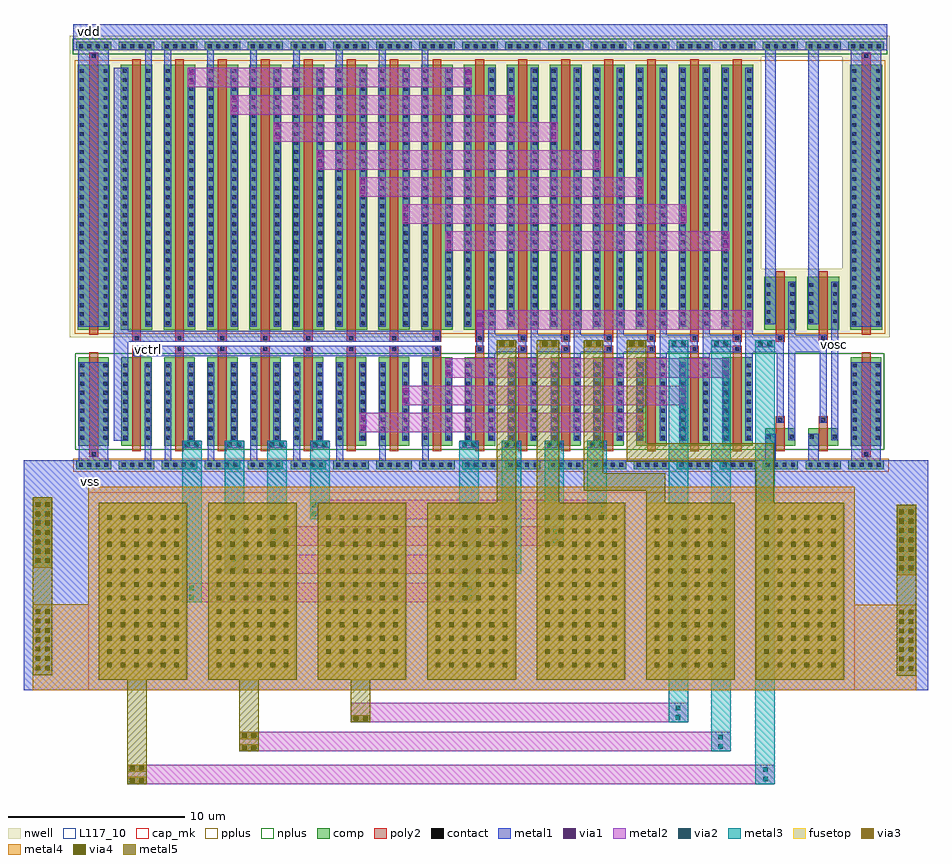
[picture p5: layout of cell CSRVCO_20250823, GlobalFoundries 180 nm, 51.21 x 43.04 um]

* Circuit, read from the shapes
.subckt CSRVCO_20250823 vctrl vdd vosc vss
XM1 vss vss vss vss nfet_03v3 w=5u l=0.5u m=2
XM2 vss vctrl n1 vss nfet_03v3 w=5u l=0.5u
XM3 n2 vctrl vss vss nfet_03v3 w=5u l=0.5u
XM4 n3 vctrl vss vss nfet_03v3 w=5u l=0.5u
XM5 n4 vctrl vss vss nfet_03v3 w=5u l=0.5u
XM6 n5 vctrl vss vss nfet_03v3 w=5u l=0.5u
XM7 n6 vctrl vss vss nfet_03v3 w=5u l=0.5u
XM8 n7 vctrl vss vss nfet_03v3 w=5u l=0.5u
XM9 n8 vctrl vss vss nfet_03v3 w=5u l=0.5u
XM10 n9 n10 n2 vss nfet_03v3 w=5u l=0.5u
XM11 n11 n9 n3 vss nfet_03v3 w=5u l=0.5u
XM12 n12 n11 n4 vss nfet_03v3 w=5u l=0.5u
XM13 n13 n12 n5 vss nfet_03v3 w=5u l=0.5u
XM14 n14 n13 n6 vss nfet_03v3 w=5u l=0.5u
XM15 n15 n14 n7 vss nfet_03v3 w=5u l=0.5u
XM16 n10 n15 n8 vss nfet_03v3 w=5u l=0.5u
XM17 n16 n10 vss vss nfet_03v3 w=1u l=0.5u
XM18 vosc n16 vss vss nfet_03v3 w=1u l=0.5u
XM19 vdd vdd vdd vdd pfet_03v3 w=15u l=0.5u m=2
XM20 vdd n1 n1 vdd pfet_03v3 w=15u l=0.5u
XM21 n17 n1 vdd vdd pfet_03v3 w=15u l=0.5u
XM22 n18 n1 vdd vdd pfet_03v3 w=15u l=0.5u
XM23 n19 n1 vdd vdd pfet_03v3 w=15u l=0.5u
XM24 n20 n1 vdd vdd pfet_03v3 w=15u l=0.5u
XM25 n21 n1 vdd vdd pfet_03v3 w=15u l=0.5u
XM26 n22 n1 vdd vdd pfet_03v3 w=15u l=0.5u
XM27 n23 n1 vdd vdd pfet_03v3 w=15u l=0.5u
XM28 n9 n10 n17 vdd pfet_03v3 w=15u l=0.5u
XM29 n11 n9 n18 vdd pfet_03v3 w=15u l=0.5u
XM30 n12 n11 n19 vdd pfet_03v3 w=15u l=0.5u
XM31 n13 n12 n20 vdd pfet_03v3 w=15u l=0.5u
XM32 n14 n13 n21 vdd pfet_03v3 w=15u l=0.5u
XM33 n15 n14 n22 vdd pfet_03v3 w=15u l=0.5u
XM34 n10 n15 n23 vdd pfet_03v3 w=15u l=0.5u
XM35 n16 n10 vdd vdd pfet_03v3 w=3u l=0.5u
XM36 vosc n16 vdd vdd pfet_03v3 w=3u l=0.5u
XC37 n10 vss cap_mim_2f0fF c_width=5u c_length=10u
XC38 n15 vss cap_mim_2f0fF c_width=5u c_length=10u
XC39 n14 vss cap_mim_2f0fF c_width=5u c_length=10u
XC40 n9 vss cap_mim_2f0fF c_width=5u c_length=10u
XC41 n11 vss cap_mim_2f0fF c_width=5u c_length=10u
XC42 n12 vss cap_mim_2f0fF c_width=5u c_length=10u
XC43 n13 vss cap_mim_2f0fF c_width=5u c_length=10u
.ends

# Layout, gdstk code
from math import pi, radians
import gdstk
lib = gdstk.Library(unit=1e-6, precision=1e-09)
def R(c, l, rs):  # rectangles x0, y0, x1, y1
    for r in rs: c.add(gdstk.rectangle(r[:2], r[2:], *l))
def A(c, l, x, y, w, h, nx, ny, dx, dy):  # array of equal rectangles
    R(c, l, [(x+i*dx, y+j*dy, x+i*dx+w, y+j*dy+h) for i in range(nx) for j in range(ny)])
nwell = (21, 0)
comp = (22, 0)
poly2 = (30, 0)
pplus = (31, 0)
nplus = (32, 0)
contact = (33, 0)
metal1 = (34, 0)
via1 = (35, 0)
metal2 = (36, 0)
via2 = (38, 0)
via3 = (40, 0)
via4 = (41, 0)
metal3 = (42, 0)
metal4 = (46, 0)
fusetop = (75, 0)
metal5 = (81, 0)
cap_mk = (117, 5)
L117_10 = (117, 10)

via_dev_744 = lib.new_cell('via_dev$744')
R(via_dev_744, comp, [(0,0,2,0.5)])
A(via_dev_744, contact, 0.17, 0.14, 0.22, 0.22, 4, 1, 0.48, 0)
R(via_dev_744, metal1, [(0,0,2,0.5)])

nfet_218 = lib.new_cell('nfet$218')
R(nfet_218, comp, [(-0.42,0,0,5), (0,0,0.88,5), (0.88,0,1.3,5)])
R(nfet_218, poly2, [(0.19,-0.3,0.69,5.3), (0.19,5.3,0.69,5.66)])
R(nfet_218, nplus, [(-0.59,-0.24,1.47,5.24)])
A(nfet_218, contact, -0.32, 0.35, 0.22, 0.22, 1, 9, 0, 0.51)
A(nfet_218, contact, 0.98, 0.35, 0.22, 0.22, 1, 9, 0, 0.51)
R(nfet_218, contact, [(0.33,5.37,0.55,5.59)])
R(nfet_218, metal1, [(-0.4,0.27,-0.02,4.73), (0.9,0.27,1.28,4.73), (0.25,5.29,0.63,5.67)])

pfet_207 = lib.new_cell('pfet$207')
R(pfet_207, nwell, [(-0.9,-0.44,1.78,15.44)])
R(pfet_207, comp, [(-0.46,0,0,15), (0,0,0.88,15), (0.88,0,1.34,15)])
R(pfet_207, poly2, [(0.19,-0.68,0.69,-0.3), (0.19,-0.3,0.69,15.3)])
R(pfet_207, pplus, [(-0.63,-0.24,1.51,15.24)])
A(pfet_207, contact, -0.34, 0.25, 0.22, 0.22, 1, 29, 0, 0.51)
A(pfet_207, contact, 1, 0.25, 0.22, 0.22, 1, 29, 0, 0.51)
R(pfet_207, contact, [(0.33,-0.6,0.55,-0.38)])
R(pfet_207, metal1, [(0.25,-0.68,0.63,-0.3), (-0.42,0.17,-0.04,14.83), (0.92,0.17,1.3,14.83)])

nfet_219 = lib.new_cell('nfet$219')
R(nfet_219, comp, [(-0.42,0,0,5), (0,0,0.88,5), (0.88,0,1.3,5)])
R(nfet_219, poly2, [(0.19,-0.66,0.69,-0.3), (0.19,-0.3,0.69,5.3)])
R(nfet_219, nplus, [(-0.59,-0.24,1.47,5.24)])
A(nfet_219, contact, -0.32, 0.35, 0.22, 0.22, 1, 9, 0, 0.51)
A(nfet_219, contact, 0.98, 0.35, 0.22, 0.22, 1, 9, 0, 0.51)
R(nfet_219, contact, [(0.33,-0.59,0.55,-0.37)])
R(nfet_219, metal1, [(0.25,-0.67,0.63,-0.29), (-0.4,0.27,-0.02,4.73), (0.9,0.27,1.28,4.73)])

via_dev_745 = lib.new_cell('via_dev$745')
R(via_dev_745, metal1, [(0,0,1.1,0.4)])
R(via_dev_745, via1, [(0.155,0.07,0.415,0.33), (0.685,0.07,0.945,0.33)])
R(via_dev_745, metal2, [(0,0,1.1,0.4)])

via_dev_746 = lib.new_cell('via_dev$746')
R(via_dev_746, metal1, [(0,0,1.1,0.4)])
R(via_dev_746, via1, [(0.155,0.07,0.415,0.33), (0.685,0.07,0.945,0.33)])
R(via_dev_746, metal2, [(0,0,1.1,0.4)])
R(via_dev_746, via2, [(0.155,0.07,0.415,0.33), (0.685,0.07,0.945,0.33)])
R(via_dev_746, metal3, [(0,0,1.1,0.4)])

cap_mim = lib.new_cell('cap_mim')
A(cap_mim, via4, 0.69, 0.47, 0.26, 0.26, 12, 6, 0.76, 0.76)
R(cap_mim, metal4, [(-0.6,-0.6,10.6,5.6)])
R(cap_mim, fusetop, [(0,0,10,5)])
R(cap_mim, metal5, [(0,0,10,5)])
R(cap_mim, cap_mk, [(-0.6,-0.6,10.6,5.6)])
R(cap_mim, L117_10, [(0,0,10,0.1)])

pfet_208 = lib.new_cell('pfet$208')
R(pfet_208, nwell, [(-0.9,-0.44,1.78,15.44)])
R(pfet_208, comp, [(-0.46,0,0,15), (0,0,0.88,15), (0.88,0,1.34,15)])
R(pfet_208, poly2, [(0.19,-0.3,0.69,15.3), (0.19,15.3,0.69,15.68)])
R(pfet_208, pplus, [(-0.63,-0.24,1.51,15.24)])
A(pfet_208, contact, -0.34, 0.25, 0.22, 0.22, 1, 29, 0, 0.51)
A(pfet_208, contact, 1, 0.25, 0.22, 0.22, 1, 29, 0, 0.51)
R(pfet_208, contact, [(0.33,15.38,0.55,15.6)])
R(pfet_208, metal1, [(-0.42,0.17,-0.04,14.83), (0.92,0.17,1.3,14.83), (0.25,15.3,0.63,15.68)])

via_dev_747 = lib.new_cell('via_dev$747')
R(via_dev_747, metal1, [(0,0,1.1,0.4)])
R(via_dev_747, via1, [(0.155,0.07,0.415,0.33), (0.685,0.07,0.945,0.33)])
R(via_dev_747, metal2, [(0,0,1.1,0.4)])
R(via_dev_747, via2, [(0.155,0.07,0.415,0.33), (0.685,0.07,0.945,0.33)])
R(via_dev_747, via3, [(0.155,0.07,0.415,0.33), (0.685,0.07,0.945,0.33)])
R(via_dev_747, via4, [(0.155,0.07,0.415,0.33), (0.685,0.07,0.945,0.33)])
R(via_dev_747, metal3, [(0,0,1.1,0.4)])
R(via_dev_747, metal4, [(0,0,1.1,0.4)])
R(via_dev_747, metal5, [(0,0,1.1,0.4)])

pfet_209 = lib.new_cell('pfet$209')
R(pfet_209, nwell, [(-0.9,-0.44,1.78,3.44)])
R(pfet_209, comp, [(-0.46,0,0,3), (0,0,0.88,3), (0.88,0,1.34,3)])
R(pfet_209, poly2, [(0.19,-0.68,0.69,-0.3), (0.19,-0.3,0.69,3.3)])
R(pfet_209, pplus, [(-0.63,-0.24,1.51,3.24)])
A(pfet_209, contact, -0.34, 0.37, 0.22, 0.22, 1, 5, 0, 0.51)
A(pfet_209, contact, 1, 0.37, 0.22, 0.22, 1, 5, 0, 0.51)
R(pfet_209, contact, [(0.33,-0.6,0.55,-0.38)])
R(pfet_209, metal1, [(0.25,-0.68,0.63,-0.3), (-0.42,0.29,-0.04,2.71), (0.92,0.29,1.3,2.71)])

via_dev_748 = lib.new_cell('via_dev$748')

via_dev_749 = lib.new_cell('via_dev$749')
R(via_dev_749, metal2, [(0,0,1.1,0.4)])
R(via_dev_749, via2, [(0.155,0.07,0.415,0.33), (0.685,0.07,0.945,0.33)])
R(via_dev_749, metal3, [(0,0,1.1,0.4)])

via_dev_750 = lib.new_cell('via_dev$750')
R(via_dev_750, metal2, [(0,0,1.1,0.4)])
R(via_dev_750, via2, [(0.155,0.07,0.415,0.33), (0.685,0.07,0.945,0.33)])
R(via_dev_750, via3, [(0.155,0.07,0.415,0.33), (0.685,0.07,0.945,0.33)])
R(via_dev_750, via4, [(0.155,0.07,0.415,0.33), (0.685,0.07,0.945,0.33)])
R(via_dev_750, metal3, [(0,0,1.1,0.4)])
R(via_dev_750, metal4, [(0,0,1.1,0.4)])
R(via_dev_750, metal5, [(0,0,1.1,0.4)])

via_dev_751 = lib.new_cell('via_dev$751')
A(via_dev_751, via4, 0.28, 0.155, 0.26, 0.26, 7, 2, 0.53, 0.53)
R(via_dev_751, metal4, [(0,0,4,1.1)])
R(via_dev_751, metal5, [(0,0,4,1.1)])

via_dev_752 = lib.new_cell('via_dev$752')
R(via_dev_752, metal1, [(0,0,4,1.1)])
A(via_dev_752, via1, 0.28, 0.155, 0.26, 0.26, 7, 2, 0.53, 0.53)
R(via_dev_752, metal2, [(0,0,4,1.1)])
A(via_dev_752, via2, 0.28, 0.155, 0.26, 0.26, 7, 2, 0.53, 0.53)
A(via_dev_752, via3, 0.28, 0.155, 0.26, 0.26, 7, 2, 0.53, 0.53)
A(via_dev_752, via4, 0.28, 0.155, 0.26, 0.26, 7, 2, 0.53, 0.53)
R(via_dev_752, metal3, [(0,0,4,1.1)])
R(via_dev_752, metal4, [(0,0,4,1.1)])
R(via_dev_752, metal5, [(0,0,4,1.1)])

nfet_220 = lib.new_cell('nfet$220')
R(nfet_220, comp, [(-0.42,0,0,1), (0,0,0.88,1), (0.88,0,1.3,1)])
R(nfet_220, poly2, [(0.19,-0.3,0.69,1.3), (0.19,1.3,0.69,1.66)])
R(nfet_220, nplus, [(-0.59,-0.24,1.47,1.24)])
R(nfet_220, contact, [(-0.32,0.39,-0.1,0.61), (0.98,0.39,1.2,0.61), (0.33,1.37,0.55,1.59)])
R(nfet_220, metal1, [(-0.4,0.31,-0.02,0.69), (0.9,0.31,1.28,0.69), (0.25,1.29,0.63,1.67)])

csrvco_20250823 = lib.new_cell('CSRVCO_20250823')
A(csrvco_20250823, nwell, -82.58, 23.08, 2.68, 1.185, 19, 1, 2.43, 0)
A(csrvco_20250823, pplus, -82.39, -0.415, 2.435, 0.75, 19, 1, 2.43, 0)
A(csrvco_20250823, pplus, -80.17, 7.4, 0.29, 15.48, 18, 1, 2.43, 0)
R(csrvco_20250823, pplus, [(-43.43,10.88,-41.29,22.88), (-41,10.88,-38.86,22.88)])
A(csrvco_20250823, nplus, -80.21, 0.82, 0.37, 5.48, 18, 1, 2.43, 0)
A(csrvco_20250823, nplus, -82.425, 23.24, 2.385, 0.865, 19, 1, 2.43, 0)
A(csrvco_20250823, nplus, -80.04, 23.24, 0.045, 0.865, 18, 1, 2.43, 0)
R(csrvco_20250823, nplus, [(-43.39,2.3,-41.33,6.3), (-40.96,2.3,-38.9,6.3)])
A(csrvco_20250823, metal1, -82.39, -1.275, 2.43, 1.5, 19, 1, 2.43, 0)
A(csrvco_20250823, metal1, -82.39, -0.275, 0.15, 0.5, 19, 2, 2.43, 23.715)
A(csrvco_20250823, metal1, -77.22, -0.275, 0.38, 1.99, 7, 1, 2.43, 0)
A(csrvco_20250823, metal1, -58.91, 1.33, 0.4, 21.14, 7, 1, 2.43, 0)
A(csrvco_20250823, metal1, -59.56, 6.35, 0.38, 0.99, 7, 1, 2.43, 0)
A(csrvco_20250823, metal1, -58.91, 6.35, 2.16, 0.99, 8, 1, 2.43, 0)
A(csrvco_20250823, metal1, -77.24, 19.93, 0.38, 4.01, 7, 1, 2.43, 0)
A(csrvco_20250823, metal1, -82.39, 23.44, 2.35, 1.5, 19, 1, 2.43, 0)
A(csrvco_20250823, metal1, -80.04, 23.44, 0.08, 1.5, 18, 1, 2.43, 0)
R(csrvco_20250823, metal1, [(-85.195,-12.78,-33.985,0.225), (-82.08,-0.275,-80.4,5.79), (-78.35,-0.275,-77.97,1.715), (-43.2,-0.275,-42.61,1.75), (-40.77,-0.275,-40.185,1.75), (-38.34,-0.275,-36.66,5.79), (-80.095,1.33,-79.27,22.47), (-41.9,1.37,-41.5,10.35), (-39.47,1.37,-39.07,10.35), (-42.55,2.35,-42.17,7.34), (-40.12,2.35,-39.74,7.34), (-79,6.115,-61.61,6.73), (-59.58,6.35,-59.18,7.64), (-80.095,6.96,-61.61,7.575), (-82.1,7.81,-80.38,23.94), (-38.36,7.81,-36.64,23.94), (-43.22,7.93,-42.61,23.94), (-40.79,7.93,-40.18,23.94), (-78.33,19.935,-77.95,23.945)])
R(csrvco_20250823, metal2, [(-79.34,-18.095,-42.67,-16.995), (-72.99,-16.245,-45.165,-15.145), (-66.67,-14.6,-47.565,-13.5), (-76.225,-7.805,-59.435,-6.705), (-73.825,-6.2,-57.03,-5.1), (-71.415,-4.61,-54.615,-3.51), (-68.97,-3.095,-52.19,-1.995), (-66.2,1.835,-50.11,2.94), (-63.77,3.365,-47.68,4.47), (-61.34,4.92,-45.25,6.025), (-59.58,7.64,-43.93,8.74), (-61.32,12.105,-45.25,13.21), (-63.75,13.64,-47.68,14.745), (-66.18,15.17,-50.11,16.275), (-68.61,16.695,-52.54,17.8), (-71.04,18.28,-54.97,19.385), (-73.465,19.81,-57.395,20.915), (-75.9,21.37,-59.83,22.475)])
R(csrvco_20250823, metal3, [(-43.77,-18.095,-42.67,6.635), (-46.265,-16.245,-45.165,6.635), (-48.665,-14.6,-47.565,7.035), (-76.225,-7.805,-75.125,0.93), (-60.535,-7.805,-59.435,0.93), (-73.825,-6.2,-72.725,1.33), (-58.13,-6.2,-57.03,0.93), (-71.415,-4.61,-70.315,1.33), (-55.71,-4.61,-54.615,1.33), (-68.97,-3.095,-67.87,1.33), (-53.29,-3.095,-52.19,1.33)])
R(csrvco_20250823, metal4, [(-84.675,-12.78,-81.54,-7.925), (-81.54,-12.78,-38.14,-1.275), (-38.14,-12.78,-34.67,-7.955)])
R(csrvco_20250823, metal5, [(-79.34,-18.095,-78.24,-12.18), (-72.99,-16.245,-71.89,-12.18), (-66.67,-14.6,-65.57,-12.18), (-58.405,-12.18,-57.305,7.035), (-35.77,-7.955,-34.67,-6.275), (-84.675,-7.925,-83.575,-5.855), (-56.14,-2.18,-54.88,7.035), (-49.94,-2.18,-48.885,-1.5), (-43.74,-2.18,-42.73,0.145), (-53.475,-1.5,-52.375,6.635), (-53.475,-1.5,-48.885,-0.495), (-51.055,0.145,-49.955,6.635), (-51.055,0.145,-42.73,1.205)])
csrvco_20250823.add(gdstk.Reference(via_dev_744, (-60.37,23.44)))
csrvco_20250823.add(gdstk.Reference(via_dev_744, (-60.37,-0.275)))
csrvco_20250823.add(gdstk.Reference(nfet_218, (-52.52,1.06)))
csrvco_20250823.add(gdstk.Reference(nfet_218, (-54.95,1.06)))
csrvco_20250823.add(gdstk.Reference(nfet_218, (-57.38,1.06)))
csrvco_20250823.add(gdstk.Reference(pfet_207, (-59.81,7.64)))
csrvco_20250823.add(gdstk.Reference(nfet_218, (-59.81,1.06)))
csrvco_20250823.add(gdstk.Reference(nfet_218, (-45.23,1.06)))
csrvco_20250823.add(gdstk.Reference(nfet_218, (-50.09,1.06)))
csrvco_20250823.add(gdstk.Reference(nfet_219, (-37.94,1.06)))
csrvco_20250823.add(gdstk.Reference(nfet_218, (-74.39,1.06)))
csrvco_20250823.add(gdstk.Reference(nfet_218, (-76.82,1.06)))
csrvco_20250823.add(gdstk.Reference(nfet_218, (-79.25,1.06)))
csrvco_20250823.add(gdstk.Reference(nfet_219, (-81.68,1.06)))
csrvco_20250823.add(gdstk.Reference(nfet_218, (-64.67,1.06)))
csrvco_20250823.add(gdstk.Reference(nfet_218, (-67.1,1.06)))
csrvco_20250823.add(gdstk.Reference(nfet_218, (-69.53,1.06)))
csrvco_20250823.add(gdstk.Reference(nfet_218, (-71.96,1.06)))
csrvco_20250823.add(gdstk.Reference(nfet_218, (-62.24,1.06)))
csrvco_20250823.add(gdstk.Reference(nfet_218, (-47.66,1.06)))
csrvco_20250823.add(gdstk.Reference(via_dev_745, (-50.11,1.835), rotation=pi/2))
csrvco_20250823.add(gdstk.Reference(via_dev_745, (-65.8,1.84), rotation=pi/2))
csrvco_20250823.add(gdstk.Reference(via_dev_746, (-60.535,0.93)))
csrvco_20250823.add(gdstk.Reference(cap_mim, (-57.34,-12.18), rotation=pi/2))
csrvco_20250823.add(gdstk.Reference(via_dev_746, (-46.265,6.635)))
csrvco_20250823.add(gdstk.Reference(pfet_207, (-52.52,7.64)))
csrvco_20250823.add(gdstk.Reference(pfet_208, (-37.94,7.64)))
csrvco_20250823.add(gdstk.Reference(via_dev_744, (-55.51,23.44)))
csrvco_20250823.add(gdstk.Reference(via_dev_744, (-38.5,23.44)))
csrvco_20250823.add(gdstk.Reference(via_dev_747, (-53.475,6.635)))
csrvco_20250823.add(gdstk.Reference(pfet_207, (-57.38,7.64)))
csrvco_20250823.add(gdstk.Reference(via_dev_747, (-57.305,7.035), rotation=pi))
csrvco_20250823.add(gdstk.Reference(pfet_207, (-45.23,7.64)))
csrvco_20250823.add(gdstk.Reference(via_dev_744, (-57.94,23.44)))
csrvco_20250823.add(gdstk.Reference(via_dev_747, (-51.055,6.635)))
csrvco_20250823.add(gdstk.Reference(via_dev_746, (-43.77,6.635)))
csrvco_20250823.add(gdstk.Reference(via_dev_744, (-53.08,23.44)))
csrvco_20250823.add(gdstk.Reference(via_dev_747, (-55.98,6.635)))
csrvco_20250823.add(gdstk.Reference(via_dev_746, (-48.665,6.635)))
csrvco_20250823.add(gdstk.Reference(via_dev_744, (-50.65,23.44)))
csrvco_20250823.add(gdstk.Reference(via_dev_744, (-43.36,23.44)))
csrvco_20250823.add(gdstk.Reference(pfet_209, (-42.8,7.64)))
csrvco_20250823.add(gdstk.Reference(via_dev_744, (-40.93,23.44)))
csrvco_20250823.add(gdstk.Reference(pfet_209, (-40.37,7.64)))
csrvco_20250823.add(gdstk.Reference(pfet_207, (-54.95,7.64)))
csrvco_20250823.add(gdstk.Reference(via_dev_745, (-59.18,7.64), rotation=pi/2))
csrvco_20250823.add(gdstk.Reference(via_dev_745, (-43.93,7.64), rotation=pi/2))
csrvco_20250823.add(gdstk.Reference(via_dev_745, (-57.395,19.81), rotation=pi/2))
csrvco_20250823.add(gdstk.Reference(via_dev_745, (-54.97,18.28), rotation=pi/2))
csrvco_20250823.add(gdstk.Reference(via_dev_745, (-52.54,16.695), rotation=pi/2))
csrvco_20250823.add(gdstk.Reference(via_dev_745, (-50.11,15.17), rotation=pi/2))
csrvco_20250823.add(gdstk.Reference(via_dev_745, (-47.68,13.64), rotation=pi/2))
csrvco_20250823.add(gdstk.Reference(via_dev_745, (-45.25,12.105), rotation=pi/2))
csrvco_20250823.add(gdstk.Reference(via_dev_745, (-45.25,4.92), rotation=pi/2))
csrvco_20250823.add(gdstk.Reference(via_dev_745, (-47.68,3.365), rotation=pi/2))
csrvco_20250823.add(gdstk.Reference(via_dev_744, (-45.79,23.44)))
csrvco_20250823.add(gdstk.Reference(pfet_207, (-47.66,7.64)))
csrvco_20250823.add(gdstk.Reference(via_dev_744, (-48.22,23.44)))
csrvco_20250823.add(gdstk.Reference(pfet_207, (-50.09,7.64)))
csrvco_20250823.add(gdstk.Reference(pfet_207, (-76.82,7.64)))
csrvco_20250823.add(gdstk.Reference(via_dev_744, (-72.52,23.44)))
csrvco_20250823.add(gdstk.Reference(pfet_207, (-64.67,7.64)))
csrvco_20250823.add(gdstk.Reference(pfet_207, (-74.39,7.64)))
csrvco_20250823.add(gdstk.Reference(via_dev_744, (-77.38,23.44)))
csrvco_20250823.add(gdstk.Reference(via_dev_744, (-65.23,23.44)))
csrvco_20250823.add(gdstk.Reference(via_dev_745, (-75.5,21.375), rotation=pi/2))
csrvco_20250823.add(gdstk.Reference(via_dev_745, (-59.83,21.37), rotation=pi/2))
csrvco_20250823.add(gdstk.Reference(via_dev_745, (-73.065,19.815), rotation=pi/2))
csrvco_20250823.add(gdstk.Reference(pfet_207, (-67.1,7.64)))
csrvco_20250823.add(gdstk.Reference(via_dev_745, (-70.64,18.285), rotation=pi/2))
csrvco_20250823.add(gdstk.Reference(pfet_207, (-79.25,7.64)))
csrvco_20250823.add(gdstk.Reference(via_dev_745, (-68.21,16.7), rotation=pi/2))
csrvco_20250823.add(gdstk.Reference(via_dev_744, (-67.66,23.44)))
csrvco_20250823.add(gdstk.Reference(via_dev_745, (-65.78,15.175), rotation=pi/2))
csrvco_20250823.add(gdstk.Reference(pfet_207, (-69.53,7.64)))
csrvco_20250823.add(gdstk.Reference(via_dev_745, (-63.35,13.645), rotation=pi/2))
csrvco_20250823.add(gdstk.Reference(via_dev_744, (-82.24,23.44)))
csrvco_20250823.add(gdstk.Reference(via_dev_745, (-60.92,12.11), rotation=pi/2))
csrvco_20250823.add(gdstk.Reference(via_dev_744, (-70.09,23.44)))
csrvco_20250823.add(gdstk.Reference(via_dev_745, (-60.94,4.925), rotation=pi/2))
csrvco_20250823.add(gdstk.Reference(pfet_207, (-71.96,7.64)))
csrvco_20250823.add(gdstk.Reference(via_dev_745, (-63.37,3.37), rotation=pi/2))
csrvco_20250823.add(gdstk.Reference(via_dev_744, (-74.95,23.44)))
csrvco_20250823.add(gdstk.Reference(pfet_207, (-62.24,7.64)))
csrvco_20250823.add(gdstk.Reference(via_dev_744, (-79.81,23.44)))
csrvco_20250823.add(gdstk.Reference(via_dev_744, (-62.8,23.44)))
csrvco_20250823.add(gdstk.Reference(pfet_208, (-81.68,7.64)))
csrvco_20250823.add(gdstk.Reference(via_dev_744, (-79.81,-0.275)))
csrvco_20250823.add(gdstk.Reference(via_dev_744, (-62.8,-0.275)))
csrvco_20250823.add(gdstk.Reference(via_dev_744, (-67.66,-0.275)))
csrvco_20250823.add(gdstk.Reference(via_dev_744, (-72.52,-0.275)))
csrvco_20250823.add(gdstk.Reference(via_dev_744, (-77.38,-0.275)))
csrvco_20250823.add(gdstk.Reference(via_dev_748, (-83.04,-0.865), rotation=pi/2))
csrvco_20250823.add(gdstk.Reference(via_dev_744, (-70.09,-0.275)))
csrvco_20250823.add(gdstk.Reference(via_dev_748, (-80.61,-0.865), rotation=pi/2))
csrvco_20250823.add(gdstk.Reference(via_dev_744, (-65.23,-0.275)))
csrvco_20250823.add(gdstk.Reference(via_dev_746, (-68.97,0.93)))
csrvco_20250823.add(gdstk.Reference(via_dev_746, (-71.415,0.93)))
csrvco_20250823.add(gdstk.Reference(via_dev_746, (-73.825,0.93)))
csrvco_20250823.add(gdstk.Reference(via_dev_746, (-76.225,0.93)))
csrvco_20250823.add(gdstk.Reference(via_dev_749, (-68.565,-3.095), rotation=pi/2))
csrvco_20250823.add(gdstk.Reference(via_dev_749, (-70.855,-4.61), rotation=pi/2))
csrvco_20250823.add(gdstk.Reference(via_dev_749, (-73.135,-6.2), rotation=pi/2))
csrvco_20250823.add(gdstk.Reference(via_dev_749, (-59.76,-7.805), rotation=pi/2))
csrvco_20250823.add(gdstk.Reference(via_dev_749, (-75.49,-7.805), rotation=pi/2))
csrvco_20250823.add(gdstk.Reference(via_dev_744, (-82.24,-0.275)))
csrvco_20250823.add(gdstk.Reference(cap_mim, (-63.54,-12.18), rotation=pi/2))
csrvco_20250823.add(gdstk.Reference(cap_mim, (-69.74,-12.18), rotation=pi/2))
csrvco_20250823.add(gdstk.Reference(cap_mim, (-75.94,-12.18), rotation=pi/2))
csrvco_20250823.add(gdstk.Reference(via_dev_750, (-72.99,-16.245)))
csrvco_20250823.add(gdstk.Reference(via_dev_750, (-72.99,-15.56)))
csrvco_20250823.add(gdstk.Reference(via_dev_750, (-66.67,-14.595)))
csrvco_20250823.add(gdstk.Reference(via_dev_750, (-79.34,-18.095)))
csrvco_20250823.add(gdstk.Reference(via_dev_750, (-79.34,-17.395)))
csrvco_20250823.add(gdstk.Reference(via_dev_744, (-74.95,-0.275)))
csrvco_20250823.add(gdstk.Reference(via_dev_751, (-83.575,-11.925), rotation=pi/2))
csrvco_20250823.add(gdstk.Reference(via_dev_752, (-83.575,-5.855), rotation=pi/2))
csrvco_20250823.add(gdstk.Reference(via_dev_749, (-54.9,-4.61), rotation=pi/2))
csrvco_20250823.add(gdstk.Reference(via_dev_744, (-55.51,-0.275)))
csrvco_20250823.add(gdstk.Reference(via_dev_749, (-57.235,-6.2), rotation=pi/2))
csrvco_20250823.add(gdstk.Reference(via_dev_744, (-57.94,-0.275)))
csrvco_20250823.add(gdstk.Reference(via_dev_744, (-48.22,-0.275)))
csrvco_20250823.add(gdstk.Reference(via_dev_744, (-43.36,-0.275)))
csrvco_20250823.add(gdstk.Reference(cap_mim, (-38.74,-12.18), rotation=pi/2))
csrvco_20250823.add(gdstk.Reference(cap_mim, (-44.94,-12.18), rotation=pi/2))
csrvco_20250823.add(gdstk.Reference(cap_mim, (-51.14,-12.18), rotation=pi/2))
csrvco_20250823.add(gdstk.Reference(nfet_220, (-42.8,1.06)))
csrvco_20250823.add(gdstk.Reference(via_dev_744, (-38.5,-0.275)))
csrvco_20250823.add(gdstk.Reference(via_dev_744, (-50.65,-0.275)))
csrvco_20250823.add(gdstk.Reference(via_dev_746, (-53.29,0.93)))
csrvco_20250823.add(gdstk.Reference(via_dev_746, (-55.71,0.93)))
csrvco_20250823.add(gdstk.Reference(via_dev_749, (-43,-18.095), rotation=pi/2))
csrvco_20250823.add(gdstk.Reference(via_dev_746, (-58.13,0.93)))
csrvco_20250823.add(gdstk.Reference(via_dev_744, (-40.93,-0.275)))
csrvco_20250823.add(gdstk.Reference(nfet_220, (-40.37,1.06)))
csrvco_20250823.add(gdstk.Reference(via_dev_744, (-53.08,-0.275)))
csrvco_20250823.add(gdstk.Reference(via_dev_744, (-45.79,-0.275)))
csrvco_20250823.add(gdstk.Reference(via_dev_749, (-47.955,-14.6), rotation=pi/2))
csrvco_20250823.add(gdstk.Reference(via_dev_751, (-34.67,-11.955), rotation=pi/2))
csrvco_20250823.add(gdstk.Reference(via_dev_752, (-34.67,-6.275), rotation=pi/2))
csrvco_20250823.add(gdstk.Reference(via_dev_749, (-52.19,-3.095), rotation=pi/2))
csrvco_20250823.add(gdstk.Reference(via_dev_749, (-45.535,-16.245), rotation=pi/2))
csrvco_20250823.add(gdstk.Label('vctrl', (-78.155,6.53), layer=34, texttype=10))
csrvco_20250823.add(gdstk.Label('vosc', (-39.305,6.79), layer=34, texttype=10))
csrvco_20250823.add(gdstk.Label('vdd', (-81.49,24.515), layer=34, texttype=10))
csrvco_20250823.add(gdstk.Label('vss', (-81.41,-0.945), layer=34, texttype=10))

lib.write_gds('CSRVCO_20250823.gds')
